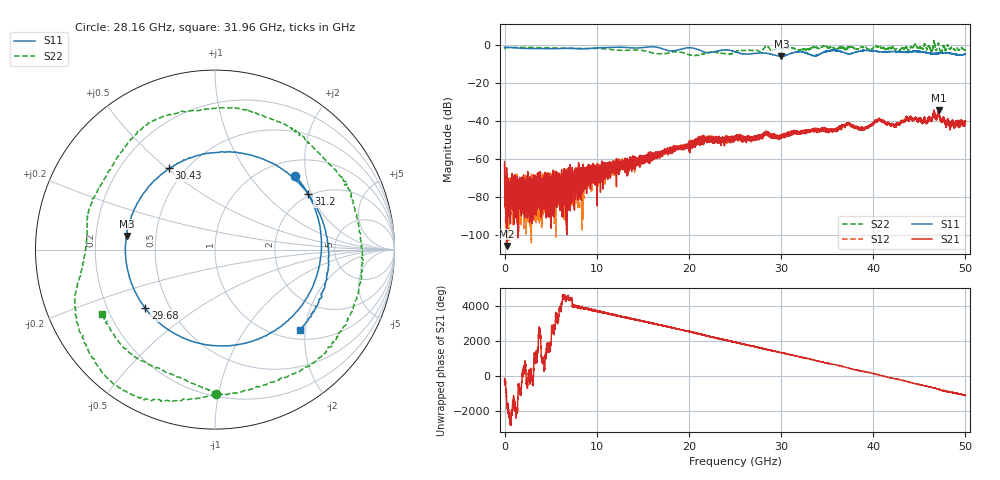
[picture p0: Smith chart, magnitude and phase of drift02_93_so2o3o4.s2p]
!Created with skrf (http://scikit-rf.org).
# Hz S RI R 50.0
!freq ReS11 ImS11 ReS21 ImS21 ReS12 ImS12 ReS22 ImS22
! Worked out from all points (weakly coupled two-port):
!   10001 points, 300 kHz to 50 GHz, reference 50 ohm
!   highest |S21| = -34.40 dB at 47.09 GHz (marker M1); lowest = -105.6 dB at 250.3 MHz (marker M2)
!   lowest |S11| = -6.1 dB at 30.04 GHz (marker M3), VSWR 2.98, Z = 16.9 + j3.42 ohm
!   |S11| at or under -10 dB: nowhere
!   |S22| runs from -5.7 to 2.3 dB; largest |S21 - S12| = 0.0037
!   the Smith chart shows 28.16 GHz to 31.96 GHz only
!   S11 on the Smith chart (normalised r, x): 28.16 GHz: 1.34, +1.73; 29.68 GHz: 0.36, -0.32; 30.43 GHz: 0.41, +0.51; 31.2 GHz: 1.95, +1.90; 31.96 GHz: 1.20, -1.88
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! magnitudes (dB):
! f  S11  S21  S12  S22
! 300 kHz  -1.3  -61.3  -62.6  -2.0
! 250.3 MHz  -1.3  -105.6  -84.3  -1.4
! 4.985 GHz  -2.1  -74.0  -76.7  -1.6
! 8.335 GHz  -2.2  -72.2  -70.3  -1.9
! 16.67 GHz  -1.4  -59.0  -56.7  -4.7
! 21.65 GHz  -3.8  -49.3  -48.3  -4.7
! 25 GHz  -3.7  -49.0  -48.7  -3.9
! 28.16 GHz  -4.3  -46.8  -47.5  -1.9
! 29.68 GHz  -5.9  -47.9  -49.0  -2.1
! 30.04 GHz  -6.1  -48.0  -47.6  -2.0
! 30.43 GHz  -5.7  -46.9  -46.9  -1.8
! 31.2 GHz  -4.4  -45.2  -46.5  -1.6
! 31.96 GHz  -3.7  -46.2  -45.4  -2.8
! 33.34 GHz  -5.5  -44.9  -44.9  -1.6
! 35.63 GHz  -3.0  -44.7  -44.7  -1.5
! 37.29 GHz  -4.7  -41.3  -41.4  -1.2
! 38.89 GHz  -3.0  -44.6  -44.0  -1.4
! 40.64 GHz  -3.7  -38.9  -39.2  -0.9
! 41.67 GHz  -3.7  -41.3  -40.9  -1.9
! 47.09 GHz  -4.5  -34.4  -34.8  0.7
! 48.13 GHz  -4.4  -39.4  -40.7  -0.7
! 50 GHz  -4.9  -39.8  -39.9  -2.7
